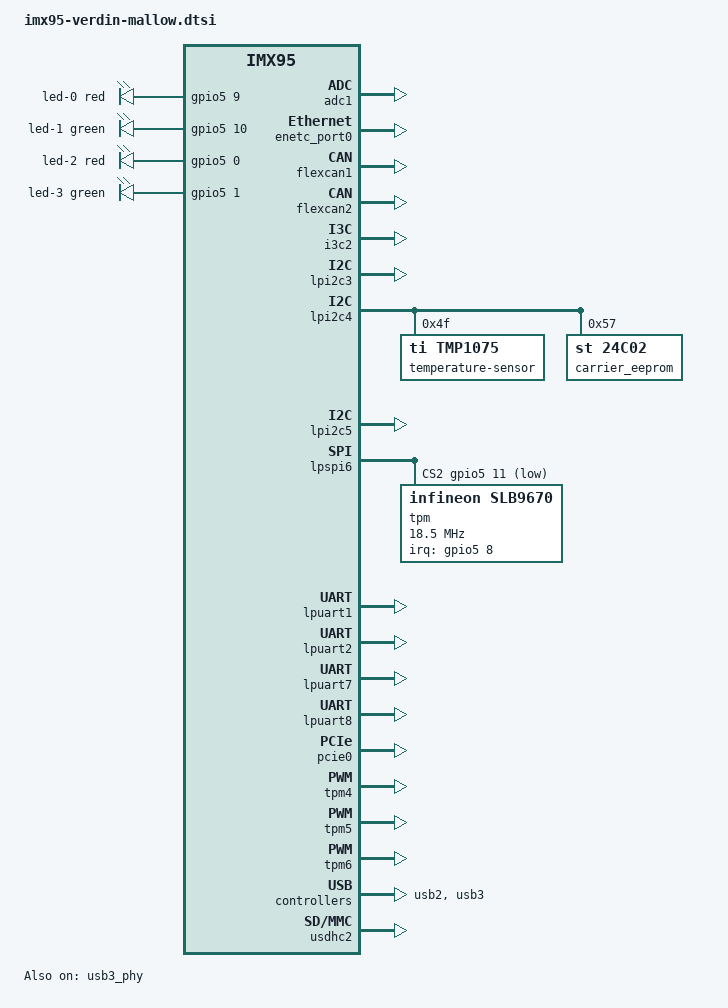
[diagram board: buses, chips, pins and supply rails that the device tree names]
// SPDX-License-Identifier: GPL-2.0-or-later OR MIT
/*
 * Copyright (c) Toradex
 *
 * Common dtsi for Verdin iMX95 SoM on Mallow carrier board
 *
 * https://www.toradex.com/computer-on-modules/verdin-arm-family/nxp-imx95
 * https://www.toradex.com/products/carrier-board/mallow-carrier-board
 */

#include <dt-bindings/leds/common.h>

/ {
	aliases {
		eeprom1 = &carrier_eeprom;
	};

	leds {
		compatible = "gpio-leds";
		pinctrl-names = "default";
		pinctrl-0 = <&pinctrl_qspi1_clk_gpio>,
			    <&pinctrl_qspi1_cs_gpio>,
			    <&pinctrl_qspi1_io0_gpio>,
			    <&pinctrl_qspi1_io1_gpio>;

		/* SODIMM 52 - USER_LED_1_RED */
		led-0 {
			color = <LED_COLOR_ID_RED>;
			function = LED_FUNCTION_DEBUG;
			function-enumerator = <1>;
			gpios = <&gpio5 9 GPIO_ACTIVE_HIGH>;
		};

		/* SODIMM 54 - USER_LED_1_GREEN */
		led-1 {
			color = <LED_COLOR_ID_GREEN>;
			function = LED_FUNCTION_DEBUG;
			function-enumerator = <1>;
			gpios = <&gpio5 10 GPIO_ACTIVE_HIGH>;
		};

		/* SODIMM 56 - USER_LED_2_RED */
		led-2 {
			color = <LED_COLOR_ID_RED>;
			function = LED_FUNCTION_DEBUG;
			function-enumerator = <2>;
			gpios = <&gpio5 0 GPIO_ACTIVE_HIGH>;
		};

		/* SODIMM 58 - USER_LED_2_GREEN */
		led-3 {
			color = <LED_COLOR_ID_GREEN>;
			function = LED_FUNCTION_DEBUG;
			function-enumerator = <2>;
			gpios = <&gpio5 1 GPIO_ACTIVE_HIGH>;
		};
	};
};

/* Verdin ADC_1, ADC_2, ADC_3 and ADC_4 */
&adc1 {
	status = "okay";
};

/* Verdin ETH_1 (On-module PHY) */
&enetc_port0 {
	status = "okay";
};

/* Verdin CAN_1 */
&flexcan1 {
	status = "okay";
};

/* Verdin CAN_2 */
&flexcan2 {
	status = "okay";
};

&gpio1 {
	pinctrl-names = "default";
	pinctrl-0 = <&pinctrl_ctrl_sleep_moci>;
};

&gpio2 {
	pinctrl-names = "default";
	pinctrl-0 = <&pinctrl_gpio1>,
		    <&pinctrl_gpio2>,
		    <&pinctrl_gpio3>;
};

&gpio3 {
	pinctrl-names = "default";
	pinctrl-0 = <&pinctrl_gpio6>;
};

&gpio4 {
	pinctrl-names = "default";
	pinctrl-0 = <&pinctrl_gpio5>;
};

&gpio5 {
	pinctrl-names = "default";
	pinctrl-0 = <&pinctrl_gpio4>;
};

/* Verdin I2C_3_HDMI */
&i3c2 {
	status = "okay";
};

/* Verdin I2C_2_DSI */
&lpi2c3 {
	status = "okay";
};

/* Verdin I2C_1 */
&lpi2c4 {
	status = "okay";

	temperature-sensor@4f {
		compatible = "ti,tmp1075";
		reg = <0x4f>;
	};

	carrier_eeprom: eeprom@57 {
		compatible = "st,24c02", "atmel,24c02";
		reg = <0x57>;
		pagesize = <16>;
	};
};

/* Verdin I2C_4_CSI */
&lpi2c5 {
	status = "okay";
};

/* Verdin SPI_1 */
&lpspi6 {
	pinctrl-names = "default";
	pinctrl-0 = <&pinctrl_lpspi6>,
		    <&pinctrl_spi1_cs>,
		    <&pinctrl_qspi1_cs2_gpio>;
	cs-gpios = <&gpio4 29 GPIO_ACTIVE_LOW>,
		   <&som_gpio_expander 13 GPIO_ACTIVE_LOW>,
		   <&gpio5 11 GPIO_ACTIVE_LOW>;

	tpm@2 {
		compatible = "infineon,slb9670", "tcg,tpm_tis-spi";
		reg = <2>;
		pinctrl-names = "default";
		pinctrl-0 = <&pinctrl_qspi1_dqs_gpio>;
		interrupt-parent = <&gpio5>;
		interrupts = <8 IRQ_TYPE_EDGE_FALLING>;
		spi-max-frequency = <18500000>;
	};
};

/* Verdin UART_3, used as the Linux console */
&lpuart1 {
	status = "okay";
};

/* Verdin UART_4 */
&lpuart2 {
	status = "okay";
};

/* Verdin UART_1 */
&lpuart7 {
	status = "okay";
};

/* Verdin UART_2 */
&lpuart8 {
	status = "okay";
};

/* Verdin PCIE_1 */
&pcie0 {
	status = "okay";
};

/* Verdin PWM_1 */
&tpm4 {
	status = "okay";
};

/* Verdin PWM_2 */
&tpm5 {
	status = "okay";
};

/* Verdin PWM_3_DSI */
&tpm6 {
	status = "okay";
};

/* Verdin USB_1 */
&usb2 {
	status = "okay";
};

/* Verdin USB_2 */
&usb3 {
	fsl,permanently-attached;

	status = "okay";
};

&usb3_phy {
	status = "okay";
};

/* Verdin SD_1 */
&usdhc2 {
	status = "okay";
};

/* Verdin CTRL_WAKE1_MICO# */
&verdin_gpio_keys {
	status = "okay";
};
